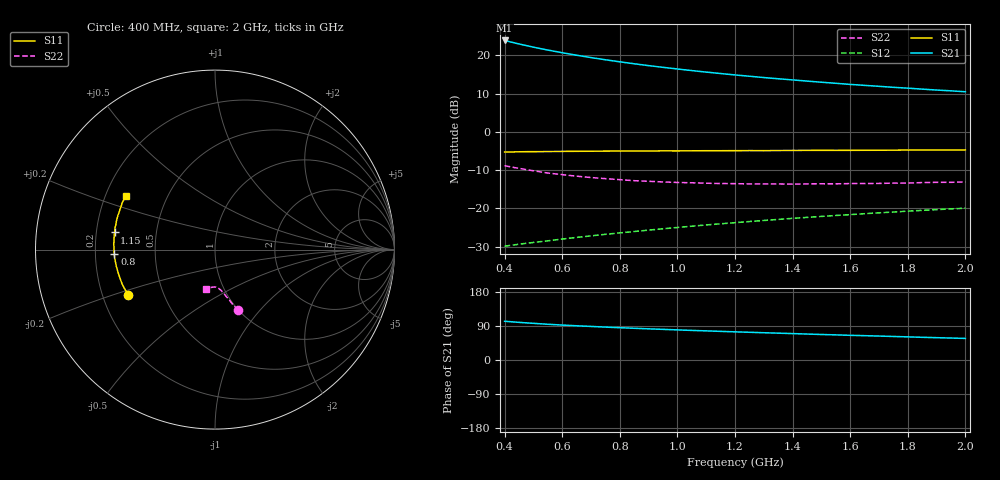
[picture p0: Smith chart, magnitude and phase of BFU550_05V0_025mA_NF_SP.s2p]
! Filename:  P:\Prog\Test\Noise\ATS_data\Testdata_Net\06 Compressed Noise after Statistics\BFU550_APG2013_43_D05_05p0V_025mA_NF_CM01_D.sf
! Date/Time: Fri 26/Apr/2013 13:07:22
! BFU550_APG2013_43_D05_05p0V_1to35mA_NF_CM01_Bias7_R.sf
! Noise Parameter Data File
! BFU550_APG2013_43_D05_05p0V_1to35mA_NF_CM01
! Date/time: Thu Apr 25 16:23:08 2013
! VAR V_out= 5.001000
! VAR I_out= 24.995000
! VAR V_in= 0.832300
! VAR I_in= 0.276750
! Device data file deembeded for feedlines and parallel
! Original file: \06 Compressed Noise after Statistics\BFU550_APG2013_43_D05_05p0V_025mA_NF_CM01_R.sf
! Feed-files: PR047V01_250413_Feed1.s2p, PR047V01_250413_Feed2.s2p
! Parallel-file: PR047V01_250413_Par.s2p
# MHz S MA R 50
!  Freq-MHz  S11-mag  S11-arg  S21-mag  S21-arg  S12-mag  S12-arg  S22-mag  S22-arg
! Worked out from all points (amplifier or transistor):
!   37 points, 400 MHz to 2 GHz, reference 50 ohm
!   highest |S21| = 23.9 dB at 400 MHz (marker M1)
!   |S21| within 3 dB of that: start of sweep to 585.5 MHz
!   unconditionally stable (mu >= 1): 1.169 GHz to end of sweep
!   at 500 MHz: K = 0.76, MSG = 25.5 dB, |S12| = -28.9 dB
!   at 1.1 GHz: K = 0.99, MSG = 20.0 dB, |S12| = -24.3 dB
!   at 2 GHz: K = 1.06, MAG = 13.7 dB, |S12| = -19.9 dB
!   lowest NFmin = 1.06 dB at 440 MHz
!   S11 on the Smith chart (normalised r, x): 400 MHz: 0.31, -0.22; 800 MHz: 0.28, -0.02; 1.15 GHz: 0.28, +0.08; 2 GHz: 0.28, +0.26
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400  0.5457 -152.4  15.62 102.2  0.03217 52.2  0.3618 -68.8
433  0.5475 -155.5  14.56 100.3  0.03345 52.6  0.3423 -70.3
460  0.55 -157.9  13.78 98.8  0.03449 52.9  0.3292 -71.4
480  0.5515 -159.5  13.27 97.7  0.03524 53.1  0.319 -72.2
500  0.5521 -161.1  12.78 96.8  0.03598 53.4  0.3106 -72.9
550  0.5535 -164.7  11.7 94.3  0.03776 54.4  0.29 -74.2
600  0.5555 -167.7  10.81 92.2  0.03986 55.0  0.2762 -75.7
650  0.5576 -170.5  10.01 90.3  0.04185 55.6  0.264 -77.1
700  0.5587 -172.7  9.335 88.5  0.04386 56.3  0.2533 -78.0
750  0.561 -175.3  8.742 86.8  0.04594 56.8  0.2452 -79.2
800  0.5615 -177.3  8.217 85.2  0.04796 57.3  0.2376 -80.4
850  0.5626 -179.3  7.75 83.7  0.04996 57.9  0.2304 -81.3
900  0.5626 178.6  7.328 82.2  0.05213 58.3  0.2263 -82.4
950  0.5651 176.9  6.964 80.8  0.05428 58.7  0.222 -83.4
1050  0.5661 173.3  6.314 78.1  0.05863 59.3  0.2164 -85.2
1150  0.5674 170.3  5.776 75.6  0.06304 59.7  0.2116 -87.0
1200  0.5686 168.7  5.538 74.3  0.0652 59.8  0.2109 -88.0
1350  0.5708 164.6  4.938 70.8  0.07192 60.1  0.2089 -90.6
1500  0.574 160.6  4.452 67.3  0.07871 60.0  0.2099 -93.4
1600  0.5741 157.8  4.167 65.1  0.08305 59.8  0.2114 -95.1
1750  0.5769 154.3  3.817 62.1  0.0898 59.4  0.2141 -98.0
2000  0.581 148.9  3.34 56.9  0.1007 58.6  0.2219 -102.3
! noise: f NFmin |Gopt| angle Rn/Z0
400  1.126  0.3502  -177.5  0.0636
460  1.066  0.3594  -174.6  0.0637
600  1.095  0.3539  -170.5  0.0657
800  1.147  0.3834  -167.4  0.0624
1000  1.17  0.38  -163.8  0.0666
1200  1.212  0.385  -160.4  0.0706
1400  1.244  0.3971  -157.1  0.0728
1600  1.272  0.4147  -153.3  0.0776
1800  1.248  0.4338  -151.6  0.0777
2000  1.346  0.4371  -148.1  0.0888
